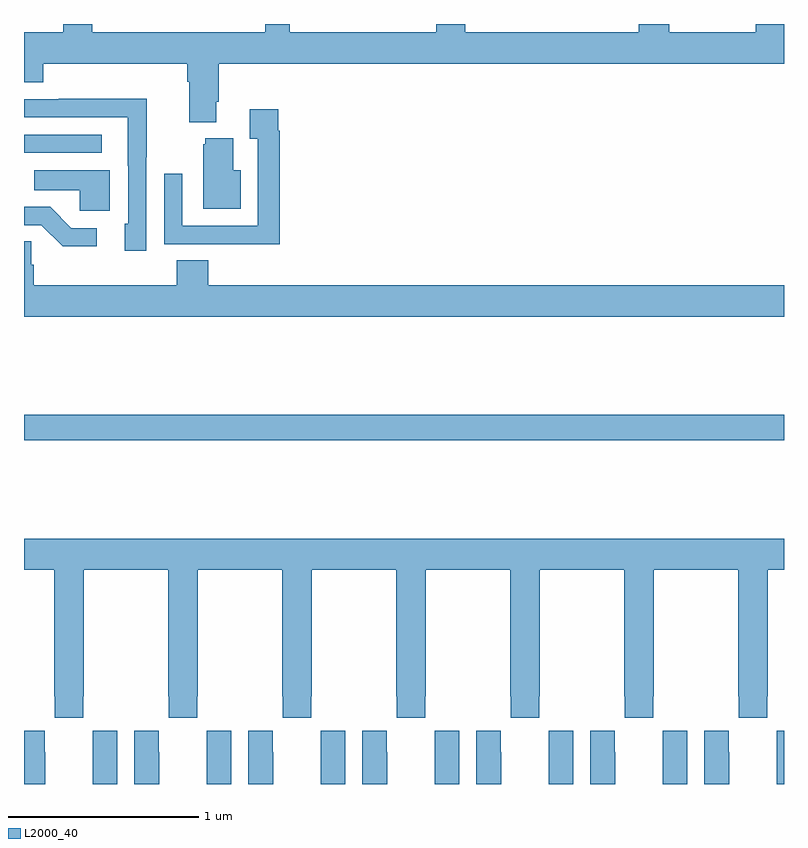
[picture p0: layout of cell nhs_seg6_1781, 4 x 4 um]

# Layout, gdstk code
import gdstk
lib = gdstk.Library(unit=1e-6, precision=1e-09)
def R(c, l, rs):  # rectangles x0, y0, x1, y1
    for r in rs: c.add(gdstk.rectangle(r[:2], r[2:], *l))
def P(c, l, *ps):  # polygons
    for p in ps: c.add(gdstk.Polygon(p, *l))
L2000_40 = (2000, 40)

nhs_seg6_1781 = lib.new_cell('nhs_seg6_1781')
R(nhs_seg6_1781, L2000_40, [(217,989.308,221,989.444), (217,990.822,217.408,990.918)])
P(nhs_seg6_1781, L2000_40, [(221,991.5),(220.852,991.5),(220.852,991.456),(220.395,991.456),(220.395,991.5),(220.235,991.5),(220.235,991.456),(219.323,991.456),(219.323,991.5),(219.17,991.5),(219.17,991.456),(218.399,991.456),(218.399,991.5),(218.269,991.5),(218.269,991.456),(217.358,991.456),(217.358,991.5),(217.206,991.5),(217.206,991.456),(217,991.456),(217,991.193),(217.1,991.193),(217.1,991.292),(217.859,991.292),(217.859,991.196),(217.871,991.196),(217.871,990.983),(218.011,990.983),(218.011,991.09),(218.024,991.09),(218.024,991.292),(221,991.292)],
  [(217.644,990.799),(217.647,990.799),(217.647,991.106),(217.183,991.106),(217.183,991.104),(217,991.104),(217,991.008),(217.547,991.008),(217.547,990.754),(217.548,990.754),(217.548,990.45),(217.529,990.45),(217.529,990.306),(217.644,990.306)],
  [(218.345,990.938),(218.338,990.938),(218.338,991.051),(218.189,991.051),(218.189,990.895),(218.229,990.895),(218.229,990.438),(217.833,990.438),(217.833,990.712),(217.737,990.712),(217.737,990.342),(218.053,990.342),(218.053,990.341),(218.345,990.341)],
  [(218.14,990.73),(218.101,990.73),(218.101,990.898),(217.955,990.898),(217.955,990.867),(217.943,990.867),(217.943,990.527),(218.14,990.527)],
  [(217.45,990.73),(217.054,990.73),(217.054,990.626),(217.293,990.626),(217.293,990.518),(217.45,990.518)],
  [(217.384,990.426),(217.249,990.426),(217.138,990.537),(217,990.537),(217,990.441),(217.092,990.441),(217.205,990.329),(217.384,990.329)],
  [(221,990.124),(217.97,990.124),(217.97,990.257),(217.805,990.257),(217.805,990.124),(217.052,990.124),(217.052,990.233),(217.038,990.233),(217.038,990.356),(217,990.356),(217,989.96),(221,989.96)],
  [(217,988.628),(217.159,988.628),(217.159,987.961),(217.161,987.961),(217.161,987.849),(217.311,987.849),(217.311,987.961),(217.314,987.961),(217.314,988.628),(217.759,988.628),(217.759,987.961),(217.761,987.961),(217.761,987.849),(217.911,987.849),(217.911,987.961),(217.914,987.961),(217.914,988.628),(218.359,988.628),(218.359,987.961),(218.361,987.961),(218.361,987.849),(218.511,987.849),(218.511,987.961),(218.514,987.961),(218.514,988.628),(218.959,988.628),(218.959,987.961),(218.961,987.961),(218.961,987.849),(219.111,987.849),(219.111,987.961),(219.114,987.961),(219.114,988.628),(219.559,988.628),(219.559,987.961),(219.561,987.961),(219.561,987.849),(219.711,987.849),(219.711,987.961),(219.714,987.961),(219.714,988.628),(220.159,988.628),(220.159,987.961),(220.161,987.961),(220.161,987.849),(220.311,987.849),(220.311,987.961),(220.314,987.961),(220.314,988.628),(220.759,988.628),(220.759,987.961),(220.761,987.961),(220.761,987.849),(220.911,987.849),(220.911,987.961),(220.914,987.961),(220.914,988.628),(221,988.628),(221,988.792),(217,988.792)],
  [(217.492,987.781),(217.362,987.781),(217.362,987.668),(217.361,987.668),(217.361,987.5),(217.492,987.5)],
  [(217.111,987.668),(217.11,987.668),(217.11,987.781),(217,987.781),(217,987.5),(217.111,987.5)],
  [(217.711,987.668),(217.71,987.668),(217.71,987.781),(217.58,987.781),(217.58,987.5),(217.711,987.5)],
  [(219.892,987.781),(219.762,987.781),(219.762,987.668),(219.761,987.668),(219.761,987.5),(219.892,987.5)],
  [(218.092,987.781),(217.962,987.781),(217.962,987.668),(217.961,987.668),(217.961,987.5),(218.092,987.5)],
  [(218.311,987.668),(218.31,987.668),(218.31,987.781),(218.18,987.781),(218.18,987.5),(218.311,987.5)],
  [(218.692,987.781),(218.562,987.781),(218.562,987.668),(218.561,987.668),(218.561,987.5),(218.692,987.5)],
  [(220.111,987.668),(220.11,987.668),(220.11,987.781),(219.98,987.781),(219.98,987.5),(220.111,987.5)],
  [(220.492,987.781),(220.362,987.781),(220.362,987.668),(220.361,987.668),(220.361,987.5),(220.492,987.5)],
  [(220.711,987.668),(220.71,987.668),(220.71,987.781),(220.58,987.781),(220.58,987.5),(220.711,987.5)],
  [(221,987.781),(220.962,987.781),(220.962,987.668),(220.961,987.668),(220.961,987.5),(221,987.5)],
  [(218.911,987.668),(218.91,987.668),(218.91,987.781),(218.78,987.781),(218.78,987.5),(218.911,987.5)],
  [(219.292,987.781),(219.162,987.781),(219.162,987.668),(219.161,987.668),(219.161,987.5),(219.292,987.5)],
  [(219.511,987.668),(219.51,987.668),(219.51,987.781),(219.38,987.781),(219.38,987.5),(219.511,987.5)])

lib.write_gds('nhs_seg6_1781.gds')
